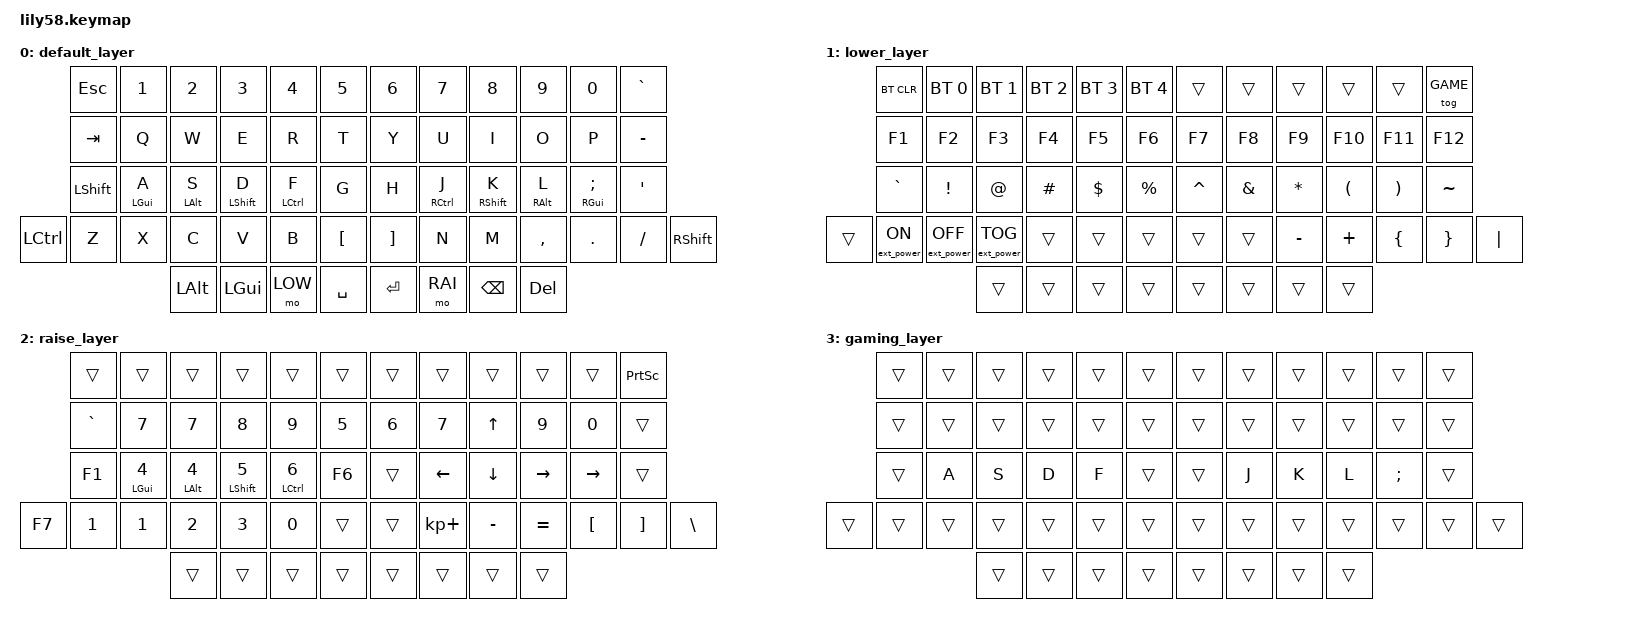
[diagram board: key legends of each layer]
/*
 * Lily58 keymap – timer-less HRMs, helper macros, ASCII grid
 * SPDX-License-Identifier: MIT
 */

#include <behaviors.dtsi>
#include <dt-bindings/zmk/keys.h>
#include <dt-bindings/zmk/bt.h>
#include <dt-bindings/zmk/ext_power.h>
#include "zmk-helpers/helper.h"

/* ───── shorthand ───── */
#define ___ &trans
#define DEF 0
#define LOW 1
#define RAI 2
#define GAME 3

/* opposite-hand key-positions (0-28 L, 29-57 R) */
#define OPP_RIGHT 29 30 31 32 33 34 35 36 37 38 39 40 41 42 43 44 45 46 47 48 49 50 51 52 53 54 55 56 57
#define OPP_LEFT   0  1  2  3  4  5  6  7  8  9 10 11 12 13 14 15 16 17 18 19 20 21 22 23 24 25 26 27 28

/* ───── generic Hold-Taps ───── */
ZMK_HOLD_TAP(hml,
    flavor = "balanced";
    tapping-term-ms = <200>;
    require-prior-idle-ms = <125>;
    hold-trigger-key-positions = <OPP_RIGHT>;
    hold-trigger-on-release;
    bindings = <&kp>, <&kp>;
)

ZMK_HOLD_TAP(hmr,
    flavor = "balanced";
    tapping-term-ms = <200>;
    require-prior-idle-ms = <125>;
    hold-trigger-key-positions = <OPP_LEFT>;
    hold-trigger-on-release;
    bindings = <&kp>, <&kp>;
)

/* ─────────────────────────  L A Y E R S  ───────────────────────── */

/* DEFAULT (index 0) */
ZMK_LAYER(default_layer,
// ╭─────────────┬─────────────┬─────────────┬─────────────┬─────────────┬─────────────╮   ╭─────────────┬─────────────┬─────────────┬─────────────┬─────────────┬─────────────╮
        &kp ESC       &kp N1        &kp N2        &kp N3        &kp N4        &kp N5             &kp N6        &kp N7        &kp N8        &kp N9        &kp N0        &kp GRAVE
// ├─────────────┼─────────────┼─────────────┼─────────────┼─────────────┼─────────────┤   ├─────────────┼─────────────┼─────────────┼─────────────┼─────────────┼─────────────┤
        &kp TAB       &kp Q         &kp W         &kp E         &kp R         &kp T              &kp Y         &kp U         &kp I         &kp O         &kp P         &kp MINUS
// ├─────────────┼─────────────┼─────────────┼─────────────┼─────────────┼─────────────┤   ├─────────────┼─────────────┼─────────────┼─────────────┼─────────────┼─────────────┤
     &kp LSHFT     &hml LGUI A  &hml LALT S   &hml LSHFT D  &hml LCTRL F  &kp G        &kp H        &hmr RCTRL J   &hmr RSHFT K  &hmr RALT L   &hmr RGUI SEMI  &kp SQT
// ├─────────────┼─────────────┼─────────────┼─────────────┼─────────────┼─────────────┤   ├─────────────┼─────────────┼─────────────┼─────────────┼─────────────┼─────────────┤
        &kp LCTRL     &kp Z         &kp X         &kp C         &kp V         &kp B  &kp LBKT &kp RBKT      &kp N         &kp M         &kp COMMA     &kp DOT       &kp FSLH      &kp RSHFT
// ╰───────────────────────────  thumbs  ────────────────────────────────╯   ╰─────────────╥─────────────╥────────────────────────────────────────────╯
                                                    &kp LALT  &kp LGUI   &mo LOW   &kp SPACE  &kp RET   &mo RAI   &kp BSPC  &kp DEL
)

/* LOWER (index 1) */
ZMK_LAYER(lower_layer,
// ╭─────────────┬─────────────┬─────────────┬─────────────┬─────────────┬─────────────╮   ╭─────────────┬─────────────┬─────────────┬─────────────┬─────────────┬─────────────╮
        &bt BT_CLR   &bt BT_SEL 0  &bt BT_SEL 1  &bt BT_SEL 2  &bt BT_SEL 3  &bt BT_SEL 4       ___           ___           ___           ___           ___        &tog GAME
// ├─────────────┼─────────────┼─────────────┼─────────────┼─────────────┼─────────────┤   ├─────────────┼─────────────┼─────────────┼─────────────┼─────────────┼─────────────┤
        &kp F1       &kp F2        &kp F3        &kp F4        &kp F5        &kp F6              &kp F7        &kp F8        &kp F9        &kp F10       &kp F11       &kp F12
// ├─────────────┼─────────────┼─────────────┼─────────────┼─────────────┼─────────────┤   ├─────────────┼─────────────┼─────────────┼─────────────┼─────────────┼─────────────┤
        &kp GRAVE    &kp EXCL      &kp AT        &kp HASH      &kp DOLLAR    &kp PRCNT           &kp CARET     &kp AMPS      &kp ASTRK     &kp LPAR      &kp RPAR      &kp TILDE
// ├─────────────┼─────────────┼─────────────┼─────────────┼─────────────┼─────────────┤   ├─────────────┼─────────────┼─────────────┼─────────────┼─────────────┼─────────────┤
        ___          &ext_power EP_ON &ext_power EP_OFF &ext_power EP_TOG  ___ ___ ___ ___   ___            &kp MINUS     &kp PLUS      &kp LBRC      &kp RBRC      &kp PIPE
// ╰───────────────────────────  thumbs  ────────────────────────────────╯   ╰─────────────╥─────────────╥────────────────────────────────────────────╯
                                                    ___        ___        ___        ___        ___        ___        ___        ___
)

/* RAISE (index 2) */
ZMK_LAYER(raise_layer,
// ╭─────────────┬─────────────┬─────────────┬─────────────┬─────────────┬─────────────╮   ╭─────────────┬─────────────┬─────────────┬─────────────┬─────────────┬─────────────╮
        ___           ___          ___          ___          ___          ___              ___          ___          ___          ___           ___   &kp PSCRN
// ├─────────────┼─────────────┼─────────────┼─────────────┼─────────────┼─────────────┤   ├─────────────┼─────────────┼─────────────┼─────────────┼─────────────┼─────────────┤
      &kp GRAVE     &kp N7        &kp N7       &kp N8       &kp N9       &kp N5           &kp N6       &kp N7       &kp UP       &kp N9        &kp N0        ___
// ├─────────────┼─────────────┼─────────────┼─────────────┼─────────────┼─────────────┤   ├─────────────┼─────────────┼─────────────┼─────────────┼─────────────┼─────────────┤
       &kp F1    &hml LGUI N4  &hml LALT N4 &hml LSHFT N5 &hml LCTRL N6  &kp F6            ___        &kp LEFT     &kp DOWN     &kp RIGHT    &kp RIGHT       ___
// ├─────────────┼─────────────┼─────────────┼─────────────┼─────────────┼─────────────┤   ├─────────────┼─────────────┼─────────────┼─────────────┼─────────────┼─────────────┤
       &kp F7       &kp N1        &kp N1       &kp N2       &kp N3       &kp N0  ___ ___ &kp KP_PLUS  &kp MINUS    &kp EQUAL    &kp LBKT     &kp RBKT     &kp BSLH
// ╰───────────────────────────  thumbs  ────────────────────────────────╯   ╰─────────────╥─────────────╥────────────────────────────────────────────╯
                                                    ___        ___        ___        ___        ___        ___        ___        ___
)

/* GAMING (index 3) – overrides home row to plain &kp, leaves everything else trans */
ZMK_LAYER(gaming_layer,
// ╭─────────────┬─────────────┬─────────────┬─────────────┬─────────────┬─────────────╮   ╭─────────────┬─────────────┬─────────────┬─────────────┬─────────────┬─────────────╮
        ___           ___           ___           ___           ___           ___                ___           ___           ___           ___           ___           ___
// ├─────────────┼─────────────┼─────────────┼─────────────┼─────────────┼─────────────┤   ├─────────────┼─────────────┼─────────────┼─────────────┼─────────────┼─────────────┤
        ___           ___           ___           ___           ___           ___                ___           ___           ___           ___           ___           ___
// ├─────────────┼─────────────┼─────────────┼─────────────┼─────────────┼─────────────┤   ├─────────────┼─────────────┼─────────────┼─────────────┼─────────────┼─────────────┤
        ___          &kp A         &kp S         &kp D         &kp F         ___                 ___          &kp J         &kp K         &kp L         &kp SEMI      ___
// ├─────────────┼─────────────┼─────────────┼─────────────┼─────────────┼─────────────┤   ├─────────────┼─────────────┼─────────────┼─────────────┼─────────────┼─────────────┤
        ___           ___           ___           ___           ___           ___    ___ ___    ___           ___           ___           ___           ___           ___
// ╰───────────────────────────  thumbs  ────────────────────────────────╯   ╰─────────────╥─────────────╥────────────────────────────────────────────╯
                                                    ___        ___        ___        ___        ___        ___        ___        ___
)
